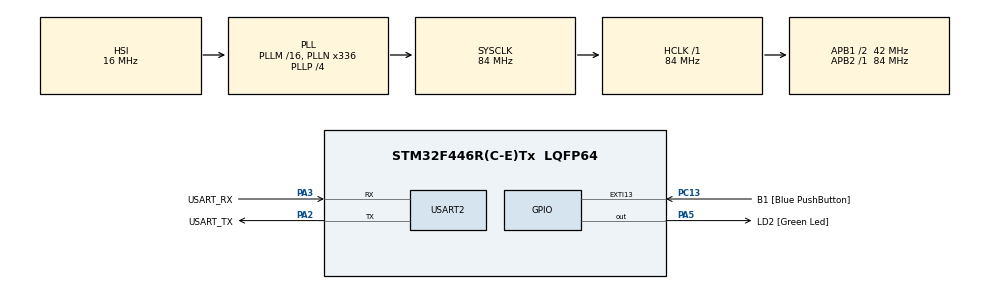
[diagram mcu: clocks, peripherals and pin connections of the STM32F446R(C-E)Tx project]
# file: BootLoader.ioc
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Mcu.Family=STM32F4
Mcu.Name=STM32F446R(C-E)Tx
Mcu.Package=LQFP64
NVIC.PriorityGroup=NVIC_PRIORITYGROUP_0
PA13.GPIO_Label=TMS
PA13.Mode=Serial_Wire
PA13.Signal=SYS_JTMS-SWDIO
PA14.GPIO_Label=TCK
PA14.Mode=Serial_Wire
PA14.Signal=SYS_JTCK-SWCLK
PA2.GPIO_Label=USART_TX
PA2.Mode=Asynchronous
PA2.Signal=USART2_TX
PA3.GPIO_Label=USART_RX
PA3.Mode=Asynchronous
PA3.Signal=USART2_RX
PA5.GPIO_Label=LD2 [Green Led]
PA5.Signal=GPIO_Output
PB3.GPIO_Label=SWO
PB3.Signal=SYS_JTDO-SWO
PC13.GPIO_Label=B1 [Blue PushButton]
PC13.GPIO_ModeDefaultEXTI=GPIO_MODE_IT_FALLING
PC13.Signal=GPXTI13
PC14-OSC32_IN.Mode=LSE-External-Oscillator
PC14-OSC32_IN.Signal=RCC_OSC32_IN
PC15-OSC32_OUT.Mode=LSE-External-Oscillator
PC15-OSC32_OUT.Signal=RCC_OSC32_OUT
PH0-OSC_IN.Mode=HSE-External-Oscillator
PH0-OSC_IN.Signal=RCC_OSC_IN
PH1-OSC_OUT.Mode=HSE-External-Oscillator
PH1-OSC_OUT.Signal=RCC_OSC_OUT
ProjectManager.HeapSize=0x200
ProjectManager.StackSize=0x400
ProjectManager.TargetToolchain=STM32CubeIDE
RCC.48MHZClocksFreq_Value=84000000
RCC.AHBFreq_Value=84000000
RCC.APB1CLKDivider=RCC_HCLK_DIV2
RCC.APB1Freq_Value=42000000
RCC.APB1TimFreq_Value=84000000
RCC.APB2Freq_Value=84000000
RCC.APB2TimFreq_Value=84000000
RCC.CortexFreq_Value=84000000
RCC.FLatency-AdvancedSettings=FLASH_LATENCY_2
RCC.HCLKFreq_Value=84000000
RCC.HSE_VALUE=8000000
RCC.HSI_VALUE=16000000
RCC.PLLN=336
RCC.PLLP=RCC_PLLP_DIV4
RCC.SYSCLKFreq_VALUE=84000000
RCC.SYSCLKSource=RCC_SYSCLKSOURCE_PLLCLK
RCC.USBFreq_Value=168000000
RCC.VCOOutputFreq_Value=336000000
USART2.VirtualMode=VM_ASYNC
VP_CRC_VS_CRC.Mode=CRC_Activate
board=NUCLEO-F446RE

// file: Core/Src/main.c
/* USER CODE BEGIN Header */
/**
  ******************************************************************************
  * @file           : main.c
  * @brief          : Main program body
  ******************************************************************************
  * @attention
  *
  * Copyright (c) 2026 STMicroelectronics.
  * All rights reserved.
  *
  * This software is licensed under terms that can be found in the LICENSE file
  * in the root directory of this software component.
  * If no LICENSE file comes with this software, it is provided AS-IS.
  *
  ******************************************************************************
  */
/* USER CODE END Header */
#include "main.h"

/* USER CODE BEGIN PTD */
FLASH_EraseInitTypeDef EraseInitStruct;
typedef struct {
	uint32_t active_slot;
	uint32_t image_size;
	uint32_t image_crc;
} boot_cfg_t;

typedef enum {
		PROG_MODE,
		EXE_MODE
} curr_mode_t;
/* USER CODE END PTD */

/* USER CODE BEGIN PD */
#define Bootloader_cfg 0x08004000
#define APP_A_ADDR 0x08020000
#define APP_B_ADDR 0x08040000

#define PACKET_SIZE 4096
/* USER CODE END PD */

CRC_HandleTypeDef hcrc;

UART_HandleTypeDef huart2;

/* USER CODE BEGIN PV */
uint32_t app_add;
curr_mode_t curr_mode = EXE_MODE;
uint8_t eoc_packet_flag;

uint32_t SectorError;

uint8_t rx_buffer[PACKET_SIZE + 13];
uint8_t ch;
uint16_t index = 0;

uint32_t data[4] =
{
    0x12346678,
    0xAAAAAAAA,
    0x55555555,
    0x87654321
};

uint8_t flag = 0;
uint16_t expected_size = 0;
uint8_t parsing_done = 0;
uint8_t already_erased;

uint8_t mem_unlocked = 0;
uint32_t watchdog_tick = 0;

uint32_t address;
uint16_t length;
uint32_t payload[PACKET_SIZE / 4];
uint32_t crc;

uint32_t image_crc;
uint32_t image_size;

char ack[19] = "PACKET RECEIVED\r\n";
char crc_err[16] = "CRC MISMATCH\r\n";
char erasing[20] = "ERASING MEMORY\r\n";
char prog_done[20] = "PROGRAMMING DONE\r\n";

/* USER CODE END PV */

void SystemClock_Config(void);
static void MX_GPIO_Init(void);
static void MX_USART2_UART_Init(void);
static void MX_CRC_Init(void);
/* USER CODE BEGIN PFP */

void eraseMem(uint32_t address){
	int sector;

	if(address >= 0x08060000)
		sector = 7;
	else if(address >= 0x08040000)
		sector = 6;
	else if(address >= 0x08020000)
		sector = 5;
	else if(address >= 0x08010000)
		sector = 4;
	else if(address >= 0x0800C000)
		sector = 3;
	else if(address >= 0x08008000)
		sector = 2;
	else if(address >= 0x08004000)
		sector = 1;
	else if(address >= 0x08000000)
		sector = 0;

//	HAL_FLASH_Unlock();

	uint32_t temp;

	switch(sector)
	{
			case 0:
				temp = FLASH_SECTOR_0;
				break;
			case 1:
				temp = FLASH_SECTOR_1;
				break;
			case 2:
				temp = FLASH_SECTOR_2;
				break;
			case 3:
				temp = FLASH_SECTOR_3;
				break;
			case 4:
				temp = FLASH_SECTOR_4;
				break;
			case 5:
				temp = FLASH_SECTOR_5;
				break;
			case 6:
				temp = FLASH_SECTOR_6;
				break;
			case 7:
				temp = FLASH_SECTOR_7;
				break;

	}

	EraseInitStruct.TypeErase = FLASH_TYPEERASE_SECTORS;
	EraseInitStruct.VoltageRange = VOLTAGE_RANGE_3;
	EraseInitStruct.Sector = temp;
    EraseInitStruct.NbSectors = 1;

	HAL_FLASHEx_Erase(&EraseInitStruct, &SectorError);

//	HAL_FLASH_Lock();
}

void progMem(uint32_t address, uint32_t instruction){

//	  HAL_FLASH_Unlock();

	  HAL_FLASH_Program((uint32_t)FLASH_TYPEPROGRAM_WORD, address, instruction);

//	  HAL_FLASH_Lock();
}

void unlock(void){
	HAL_FLASH_Unlock();
	mem_unlocked = 1;
}

void lock(void){
	HAL_FLASH_Lock();
	mem_unlocked = 0;
}

void prog(void){
	uint32_t temp = 0;

	temp = HAL_CRC_Calculate(&hcrc, payload, length / 4);

	if((crc == temp) && parsing_done){

		if(!mem_unlocked){
	        unlock();
		}

	HAL_UART_Transmit(&huart2, ack, sizeof(ack), HAL_MAX_DELAY);

    if(!already_erased){
	    eraseMem(address);
	    already_erased = 1;
    }

    HAL_UART_Transmit(&huart2, erasing, sizeof(erasing), HAL_MAX_DELAY);

    for(uint16_t i = 0; i < length; i += 4)
    {
    	uint32_t word =
    	      ((uint32_t)rx_buffer[i + 8])
    	    | ((uint32_t)rx_buffer[i + 9]  << 8)
    	    | ((uint32_t)rx_buffer[i + 10] << 16)
    	    | ((uint32_t)rx_buffer[i + 11] << 24);

        progMem(address + i, word);
    }

    HAL_UART_Transmit(&huart2, prog_done, sizeof(prog_done), HAL_MAX_DELAY);

    parsing_done = 0;
	} else {
	    HAL_UART_Transmit(&huart2, crc_err, sizeof(crc_err), HAL_MAX_DELAY);
	}
}

void prog_eoc(void){

//	HAL_GPIO_WritePin(GPIOA, GPIO_PIN_5, 1);
//	HAL_Delay(100);
//	HAL_GPIO_WritePin(GPIOA, GPIO_PIN_5, 0);
//	HAL_Delay(100);

	uint32_t temp = 0;

	uint32_t change_add;

	uint32_t eoc_pacet_crc_temp[2];

	eoc_pacet_crc_temp[0] = image_size;
	eoc_pacet_crc_temp[1] = image_crc;

	temp = HAL_CRC_Calculate(&hcrc, eoc_pacet_crc_temp, 2);

	if(temp == crc){

		HAL_UART_Transmit(&huart2, ack, sizeof(ack), HAL_MAX_DELAY);

	    if(address > 0x08040000){
		    change_add = 01;
	    }else{
		    change_add = 00;
	    }
	    eraseMem(Bootloader_cfg);
	    progMem(Bootloader_cfg, change_add);
	    progMem((Bootloader_cfg + 4), image_size);
	    progMem((Bootloader_cfg + 8), image_crc);

	    lock();
	    mem_unlocked = 0;

	    HAL_Delay(200);

	NVIC_SystemReset();

	}else{
		HAL_GPIO_WritePin(GPIOA, GPIO_PIN_5, 1);
		HAL_Delay(100);
		HAL_GPIO_WritePin(GPIOA, GPIO_PIN_5, 0);
		HAL_Delay(100);
		HAL_GPIO_WritePin(GPIOA, GPIO_PIN_5, 1);
		HAL_Delay(100);
		HAL_GPIO_WritePin(GPIOA, GPIO_PIN_5, 0);
		HAL_Delay(100);
	}

}

void parse_uart(uint8_t *rx, uint16_t size)
{
	if(eoc_packet_flag){

		image_size =
		          ((uint32_t)rx[2])
		        | ((uint32_t)rx[3] << 8)
		        | ((uint32_t)rx[4] << 16)
		        | ((uint32_t)rx[5] << 24);

		image_crc =
	          ((uint32_t)rx[6])
	        | ((uint32_t)rx[7] << 8)
	        | ((uint32_t)rx[8] << 16)
	        | ((uint32_t)rx[9] << 24);

		crc =
		          ((uint32_t)rx[10])
		        | ((uint32_t)rx[11] << 8)
		        | ((uint32_t)rx[12] << 16)
		        | ((uint32_t)rx[13] << 24);

		prog_eoc();

		eoc_packet_flag = 0;

	}else{

    if(size < 12)
        return;

    address =
          ((uint32_t)rx[2])
        | ((uint32_t)rx[3] << 8)
        | ((uint32_t)rx[4] << 16)
        | ((uint32_t)rx[5] << 24);

    crc =
          ((uint32_t)rx[8 + length])
        | ((uint32_t)rx[9 + length] << 8)
        | ((uint32_t)rx[10 + length] << 16)
        | ((uint32_t)rx[11 + length] << 24);

    // bootloader protection
    if(address < APP_A_ADDR)
        return;

    length =
          ((uint16_t)rx[6])
        | ((uint16_t)rx[7] << 8);

    if(size != (2 + 4 + 2 + length + 4))
        return;

    if(length > PACKET_SIZE)
        return;

    if(length % 4 != 0)
        return;

    for(uint16_t i = 0; i < length; i += 4)
    {
    	uint32_t word =
    	      ((uint32_t)rx[i + 8])
    	    | ((uint32_t)rx[i + 9]  << 8)
    	    | ((uint32_t)rx[i + 10] << 16)
    	    | ((uint32_t)rx[i + 11] << 24);

        payload[i / 4] = word;
    }

    crc =
          ((uint32_t)rx[8 + length])
        | ((uint32_t)rx[9 + length] << 8)
        | ((uint32_t)rx[10 + length] << 16)
        | ((uint32_t)rx[11 + length] << 24);

    parsing_done = 1;

	watchdog_tick = HAL_GetTick();

    prog();

	}
}

void checker(uint8_t ch)
{

    switch(flag)
    {
        case 0: // WAIT_AA

            if(ch == 0xAA)
            {
                rx_buffer[0] = ch;
                index = 1;
                flag = 1;
            }

            break;

        case 1: // WAIT_55

            if(ch == 0x55)
            {
                rx_buffer[index++] = ch;
                flag = 2;
            }
            else
            {
                flag = 0;
                index = 0;

            }

            break;

        case 2: // separating type of packets
        	if(ch == 0x11)
        	{
        		eoc_packet_flag = 1;

//        		HAL_GPIO_WritePin(GPIOA, GPIO_PIN_5, 1);
//        		HAL_Delay(100);
//        		HAL_GPIO_WritePin(GPIOA, GPIO_PIN_5, 0);
//        		HAL_Delay(100);
        	}
            flag = 3;
            break;

        case 3: // COLLECT PACKET

            rx_buffer[index++] = ch;

            if(index >= 8)
            {
                length =
                      ((uint16_t)rx_buffer[6])
                    | ((uint16_t)rx_buffer[7] << 8);

                expected_size =
                      2
                    + 4
                    + 2
                    + length
                    + 4;
            }

            if(eoc_packet_flag){
            	expected_size =
                        2
                      + 4
					  + 4
                      + 4;
            }

            if(expected_size > 0 &&
               index >= expected_size)
            {
                parse_uart(rx_buffer, expected_size);

                flag = 0;
                index = 0;
                expected_size = 0;

            }

            break;
    }
}

void boot_loader_startup(void)
{
    if(curr_mode != EXE_MODE)
        return;

    boot_cfg_t cfg;
    boot_cfg_t *cfg_flash =
        (boot_cfg_t *)Bootloader_cfg;

    if(cfg_flash->active_slot == 0x00000000 ||
       cfg_flash->active_slot == 0x00000001)
    {
        cfg.active_slot = cfg_flash->active_slot;
        cfg.image_size  = cfg_flash->image_size;
        cfg.image_crc   = cfg_flash->image_crc;
    }
    else
    {
        cfg.active_slot = 0;
        cfg.image_size  = 0;
        cfg.image_crc   = 0;
    }

    if(cfg.active_slot == 0)
    {
        app_add = APP_A_ADDR;
    }
    else
    {
        app_add = APP_B_ADDR;
    }

    /*
     * Verify application CRC before jump
     */

    uint32_t words =
        (cfg.image_size + 3) / 4;

    uint32_t calc_crc =
        HAL_CRC_Calculate(
            &hcrc,
            (uint32_t *)app_add,
            words
        );

    if(calc_crc != cfg.image_crc)
    {
        /*
         * Invalid firmware.
         * Stay in bootloader.
         */
        curr_mode = PROG_MODE;

        HAL_GPIO_WritePin(GPIOA, GPIO_PIN_5, 1);

        return;
    }
}
typedef void (*pfunction)(void);

void jump_to_app(void){
	uint32_t appstack;
	uint32_t app_reset_handler;

	pfunction jump;

	appstack = *(volatile uint32_t*)app_add;

	if(appstack < 0x20000000 || appstack > 0x20020000)
	{
	    while(1);   // invalid app
	}

	app_reset_handler = *(volatile uint32_t*)(app_add + 4);

	if(app_reset_handler == 0xFFFFFFFF)
	{
	    while(1);
	}

	__disable_irq();

//	HAL_RCC_DeInit();
//	HAL_DeInit();

	SCB->VTOR = app_add;

	__set_MSP(appstack);

	jump = (pfunction)app_reset_handler;

	jump();
}

/* USER CODE END PFP */

int main(void)
{

  /* USER CODE BEGIN 1 */

  uint32_t button_press_time = 0;
  already_erased = 0;
  uint32_t start;
  /* USER CODE END 1 */

  /* MCU Configuration--------------------------------------------------------*/

  /* Reset of all peripherals, Initializes the Flash interface and the Systick. */
  HAL_Init();

  /* Configure the system clock */
  SystemClock_Config();

  /* Initialize all configured peripherals */
  MX_GPIO_Init();
  MX_USART2_UART_Init();
  MX_CRC_Init();
  /* USER CODE BEGIN 2 */

  HAL_GPIO_WritePin(GPIOA, GPIO_PIN_5, 1);

  start = HAL_GetTick(); // so that start is once defined on reset

  while(HAL_GetTick() - start < 3000){
      if(HAL_GPIO_ReadPin(GPIOC, GPIO_PIN_13) == GPIO_PIN_RESET)
      {
          if(button_press_time == 0)
          {
              button_press_time = HAL_GetTick();
          }

          if((HAL_GetTick() - button_press_time) >= 1000)
          {
              curr_mode = PROG_MODE;
              break;
          }
          }
      else
      {
      button_press_time = 0;
      }
  }

  // PROG / EXE logic

  if(curr_mode == PROG_MODE){

	  // LED indicator
	  HAL_GPIO_WritePin(GPIOA, GPIO_PIN_5, 0);
	  HAL_Delay(200);
	  HAL_GPIO_WritePin(GPIOA, GPIO_PIN_5, 1);
	  HAL_Delay(200);
	  HAL_GPIO_WritePin(GPIOA, GPIO_PIN_5, 0);
	  HAL_Delay(200);
	  HAL_GPIO_WritePin(GPIOA, GPIO_PIN_5, 1);
	  HAL_Delay(200);
      HAL_GPIO_WritePin(GPIOA, GPIO_PIN_5, 0);

      eoc_packet_flag = 0;

	  while(1){
          HAL_UART_Receive(&huart2, &ch, 1, 10);
          checker(ch);

          if(mem_unlocked && HAL_GetTick() - watchdog_tick >= 2500){
        	  lock();
          }

	  }
  }else if (curr_mode == EXE_MODE){
	      boot_loader_startup();

	      jump_to_app();
  }

  /* USER CODE END 2 */

  /* Infinite loop */
  /* USER CODE BEGIN WHILE */
  while(1)
  {

//      rx_tx();

//      parse_uart(rx_buffer, 512);

  }
  /* USER CODE END 3 */
}

void SystemClock_Config(void)
{
  RCC_OscInitTypeDef RCC_OscInitStruct = {0};
  RCC_ClkInitTypeDef RCC_ClkInitStruct = {0};

  /** Configure the main internal regulator output voltage
  */
  __HAL_RCC_PWR_CLK_ENABLE();
  __HAL_PWR_VOLTAGESCALING_CONFIG(PWR_REGULATOR_VOLTAGE_SCALE3);

  /** Initializes the RCC Oscillators according to the specified parameters
  * in the RCC_OscInitTypeDef structure.
  */
  RCC_OscInitStruct.OscillatorType = RCC_OSCILLATORTYPE_HSI;
  RCC_OscInitStruct.HSIState = RCC_HSI_ON;
  RCC_OscInitStruct.HSICalibrationValue = RCC_HSICALIBRATION_DEFAULT;
  RCC_OscInitStruct.PLL.PLLState = RCC_PLL_ON;
  RCC_OscInitStruct.PLL.PLLSource = RCC_PLLSOURCE_HSI;
  RCC_OscInitStruct.PLL.PLLM = 16;
  RCC_OscInitStruct.PLL.PLLN = 336;
  RCC_OscInitStruct.PLL.PLLP = RCC_PLLP_DIV4;
  RCC_OscInitStruct.PLL.PLLQ = 2;
  RCC_OscInitStruct.PLL.PLLR = 2;
  if (HAL_RCC_OscConfig(&RCC_OscInitStruct) != HAL_OK)
  {
    Error_Handler();
  }

  /** Initializes the CPU, AHB and APB buses clocks
  */
  RCC_ClkInitStruct.ClockType = RCC_CLOCKTYPE_HCLK|RCC_CLOCKTYPE_SYSCLK
                              |RCC_CLOCKTYPE_PCLK1|RCC_CLOCKTYPE_PCLK2;
  RCC_ClkInitStruct.SYSCLKSource = RCC_SYSCLKSOURCE_PLLCLK;
  RCC_ClkInitStruct.AHBCLKDivider = RCC_SYSCLK_DIV1;
  RCC_ClkInitStruct.APB1CLKDivider = RCC_HCLK_DIV2;
  RCC_ClkInitStruct.APB2CLKDivider = RCC_HCLK_DIV1;

  if (HAL_RCC_ClockConfig(&RCC_ClkInitStruct, FLASH_LATENCY_2) != HAL_OK)
  {
    Error_Handler();
  }
}

static void MX_CRC_Init(void)
{

  hcrc.Instance = CRC;
  if (HAL_CRC_Init(&hcrc) != HAL_OK)
  {
    Error_Handler();
  }

}

static void MX_USART2_UART_Init(void)
{

  huart2.Instance = USART2;
  huart2.Init.BaudRate = 115200;
  huart2.Init.WordLength = UART_WORDLENGTH_8B;
  huart2.Init.StopBits = UART_STOPBITS_1;
  huart2.Init.Parity = UART_PARITY_NONE;
  huart2.Init.Mode = UART_MODE_TX_RX;
  huart2.Init.HwFlowCtl = UART_HWCONTROL_NONE;
  huart2.Init.OverSampling = UART_OVERSAMPLING_16;
  if (HAL_UART_Init(&huart2) != HAL_OK)
  {
    Error_Handler();
  }

}

static void MX_GPIO_Init(void)
{
  GPIO_InitTypeDef GPIO_InitStruct = {0};

  /* GPIO Ports Clock Enable */
  __HAL_RCC_GPIOC_CLK_ENABLE();
  __HAL_RCC_GPIOH_CLK_ENABLE();
  __HAL_RCC_GPIOA_CLK_ENABLE();
  __HAL_RCC_GPIOB_CLK_ENABLE();

  /*Configure GPIO pin Output Level */
  HAL_GPIO_WritePin(LD2_GPIO_Port, LD2_Pin, GPIO_PIN_RESET);

  /*Configure GPIO pin : B1_Pin */
  GPIO_InitStruct.Pin = B1_Pin;
  GPIO_InitStruct.Mode = GPIO_MODE_IT_FALLING;
  GPIO_InitStruct.Pull = GPIO_NOPULL;
  HAL_GPIO_Init(B1_GPIO_Port, &GPIO_InitStruct);

  /*Configure GPIO pin : LD2_Pin */
  GPIO_InitStruct.Pin = LD2_Pin;
  GPIO_InitStruct.Mode = GPIO_MODE_OUTPUT_PP;
  GPIO_InitStruct.Pull = GPIO_NOPULL;
  GPIO_InitStruct.Speed = GPIO_SPEED_FREQ_LOW;
  HAL_GPIO_Init(LD2_GPIO_Port, &GPIO_InitStruct);

}

void Error_Handler(void)
{
  __disable_irq();
  while (1)
  {
  }
}
